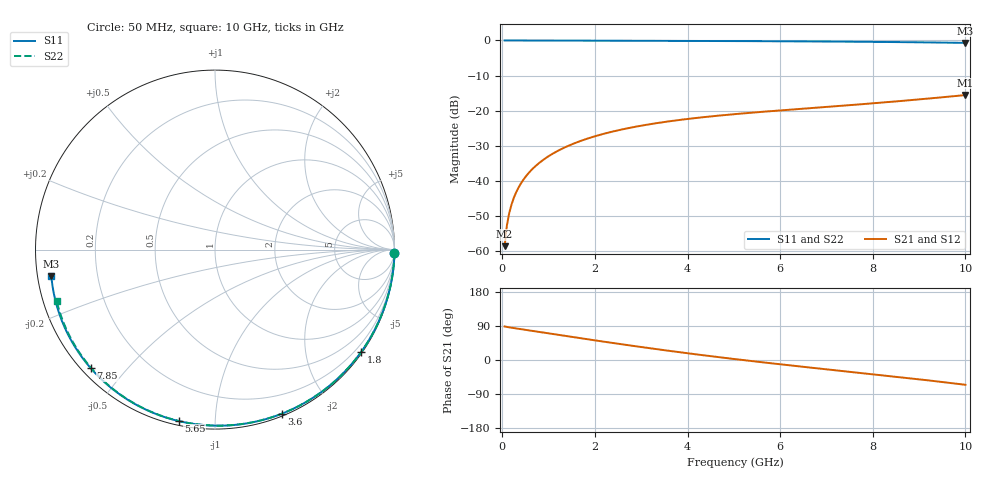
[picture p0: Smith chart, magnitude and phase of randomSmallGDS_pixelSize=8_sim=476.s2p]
! freq	dB(S11)	phase(S11)	dB(S12)	phase(S12)
!  dB(S21)	phase(S21)	dB(S22)	phase(S22)
!S-par simulation data
#  GHz  S  DB  R 50
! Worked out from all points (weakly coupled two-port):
!   200 points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, 50 MHz to 10 GHz, reference 50 ohm
!   highest |S21| = -15.56 dB at 10 GHz (marker M1); lowest = -58.6 dB at 50 MHz (marker M2)
!   lowest |S11| = -0.7 dB at 10 GHz (marker M3), VSWR 25.31, Z = 1.99 - j4.05 ohm
!   |S11| at or under -10 dB: nowhere
!   |S22| runs from -0.7 to 0.0 dB; largest |S21 - S12| = 0
!   S11 on the Smith chart (normalised r, x): 50 MHz: open; 1.8 GHz: 0.03, -3.18; 3.6 GHz: 0.02, -1.49; 5.65 GHz: 0.02, -0.81; 7.85 GHz: 0.03, -0.40; 10 GHz: 0.04, -0.08
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0.05  -0.00 -1.0  -58.58 88.5  -58.58 88.5  -0.00 -1.0
0.1  -0.00 -2.0  -52.61 87.2  -52.61 87.2  -0.00 -1.9
0.15  -0.00 -3.0  -49.14 86.1  -49.14 86.1  -0.00 -2.9
0.2  -0.00 -4.0  -46.68 85.1  -46.68 85.1  -0.00 -3.8
0.35  -0.01 -6.9  -41.91 82.4  -41.91 82.4  -0.01 -6.7
0.5  -0.01 -9.9  -38.86 79.6  -38.86 79.6  -0.01 -9.6
0.7  -0.02 -13.8  -35.98 75.9  -35.98 75.9  -0.02 -13.4
1  -0.03 -19.6  -32.96 70.3  -32.96 70.3  -0.03 -19.0
1.35  -0.04 -26.4  -30.45 63.8  -30.45 63.8  -0.04 -25.6
1.75  -0.05 -34.0  -28.34 56.4  -28.34 56.4  -0.05 -32.9
1.8  -0.05 -35.0  -28.12 55.5  -28.12 55.5  -0.05 -33.9
2.6  -0.08 -49.9  -25.30 41.1  -25.30 41.1  -0.07 -48.3
3.4  -0.10 -64.3  -23.41 27.5  -23.41 27.5  -0.10 -62.2
3.6  -0.11 -67.8  -23.03 24.2  -23.03 24.2  -0.11 -65.6
4.3  -0.14 -79.8  -21.91 13.2  -21.91 13.2  -0.13 -77.2
5.05  -0.17 -92.3  -20.95 2.0  -20.95 2.0  -0.17 -89.3
5.65  -0.21 -102.0  -20.29 -6.5  -20.29 -6.5  -0.20 -98.6
6.7  -0.28 -118.5  -19.23 -20.6  -19.23 -20.6  -0.27 -114.3
7.85  -0.38 -136.3  -18.06 -35.6  -18.06 -35.6  -0.37 -131.0
8.35  -0.44 -144.1  -17.52 -42.2  -17.52 -42.2  -0.42 -138.1
9.2  -0.55 -157.5  -16.55 -53.8  -16.55 -53.8  -0.53 -150.4
10  -0.69 -170.7  -15.56 -65.4  -15.56 -65.4  -0.65 -162.1
